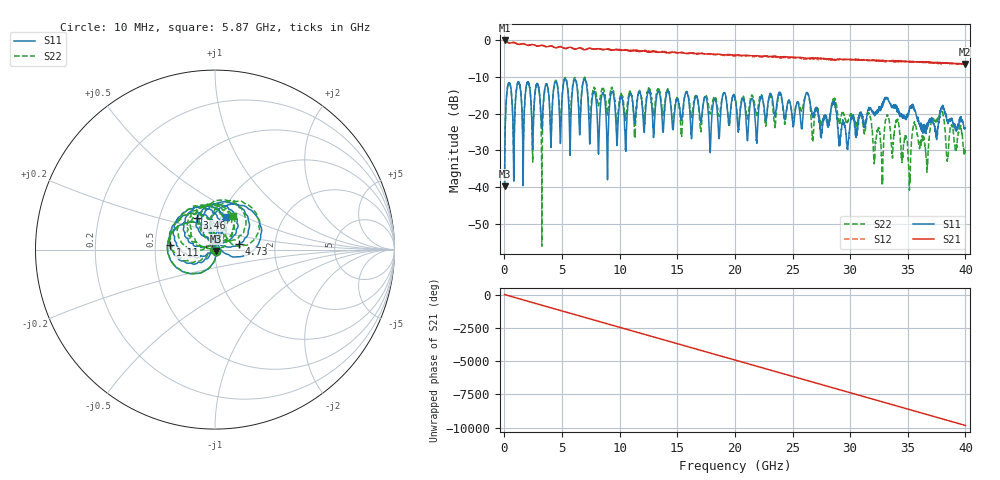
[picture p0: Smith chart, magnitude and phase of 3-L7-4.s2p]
! 2/21/2025 7:28:30 AM
! Z:\OQC\AD5\613\LOT-141-0825\SINGLE\3-L7-4.S2P
! CHANNEL.1
! TR.MEASUREMENT
! CORRECTED.DATA
! RF.CORRECTION: FULL.FOUR.PORT.CAL.PORT.1.2.3.4
! AVERAGING.OFF
! IF.BANDWIDTH: 1KHZ
! SWEEPTYPE:  FREQ.SWEEP(Linear)
! Reference Plane Port Info
! PORT:  PORT1  PORT2
! DISTANCE:  0  m  0  m
! TIME:  0  s  0  s
! PHASE.OFFSET:  0 °  0 °
! LOSS:  0  dB  0  dB
! REF.LOSS:  0  dB  0  dB
! REF.FREQ:  0  Hz  0  Hz
! Power Info
! POWER:  -10  dBm  -10  dBm
! EFF.POWER:  -10  dBm  -10  dBm
! SOURCE.ATTEN:  0  dB  0  dB
! TEST.ATTEN:  0  dB  0  dB
# GHZ S RI R 50.0
! FREQ.GHZ  S11RE  S11IM  S21RE  S21IM  S12RE  S12IM  S22RE  S22IM
!; PortSelection: Port_12
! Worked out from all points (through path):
!   4000 points, 10 MHz to 40 GHz, reference 50 ohm
!   highest |S21| = -0.07 dB at 10 MHz (marker M1); lowest = -6.5 dB at 39.94 GHz (marker M2)
!   group delay of S21, straight-line fit = 682 ps
!   lowest |S11| = -39.8 dB at 10 MHz (marker M3), VSWR 1.02, Z = 50.7 - j0.768 ohm
!   |S11| at or under -10 dB: start of sweep to end of sweep
!   |S22| runs from -56.1 to -10.1 dB; largest |S21 - S12| = 0.032
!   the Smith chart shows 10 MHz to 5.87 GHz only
!   S11 on the Smith chart (normalised r, x): 10 MHz: 1.01, -0.02; 1.11 GHz: 0.60, +0.03; 3.46 GHz: 0.77, +0.29; 4.73 GHz: 1.31, +0.08; 5.87 GHz: 1.05, +0.39
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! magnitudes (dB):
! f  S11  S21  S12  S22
! 10 MHz  -39.8  -0.1  -0.1  -39.7
! 320 MHz  -11.9  -0.6  -0.7  -11.9
! 800 MHz  -38.0  -0.6  -0.6  -32.8
! 1.11 GHz  -12.1  -1.0  -1.0  -12.1
! 1.61 GHz  -39.6  -0.9  -0.9  -27.6
! 2 GHz  -11.3  -1.4  -1.4  -11.5
! 3.46 GHz  -13.8  -1.6  -1.6  -14.2
! 4.73 GHz  -17.2  -1.8  -1.8  -16.4
! 5.87 GHz  -14.5  -2.1  -2.1  -13.6
! 6.68 GHz  -15.2  -2.2  -2.2  -14.6
! 8.94 GHz  -38.0  -2.5  -2.4  -19.7
! 9.33 GHz  -14.0  -2.7  -2.6  -12.8
! 13.34 GHz  -13.9  -3.3  -3.3  -13.4
! 20.01 GHz  -16.1  -4.1  -4.3  -15.6
! 26.67 GHz  -19.6  -4.8  -5.1  -24.3
! 29.77 GHz  -29.5  -5.2  -5.2  -22.4
! 32.76 GHz  -17.9  -5.6  -5.5  -37.2
! 33.34 GHz  -16.6  -5.6  -5.7  -21.2
! 35.11 GHz  -19.3  -5.9  -5.9  -35.9
! 37.89 GHz  -18.5  -6.1  -6.3  -19.3
! 39.94 GHz  -24.2  -6.5  -6.4  -30.6
! 40 GHz  -23.9  -6.4  -6.5  -29.1
